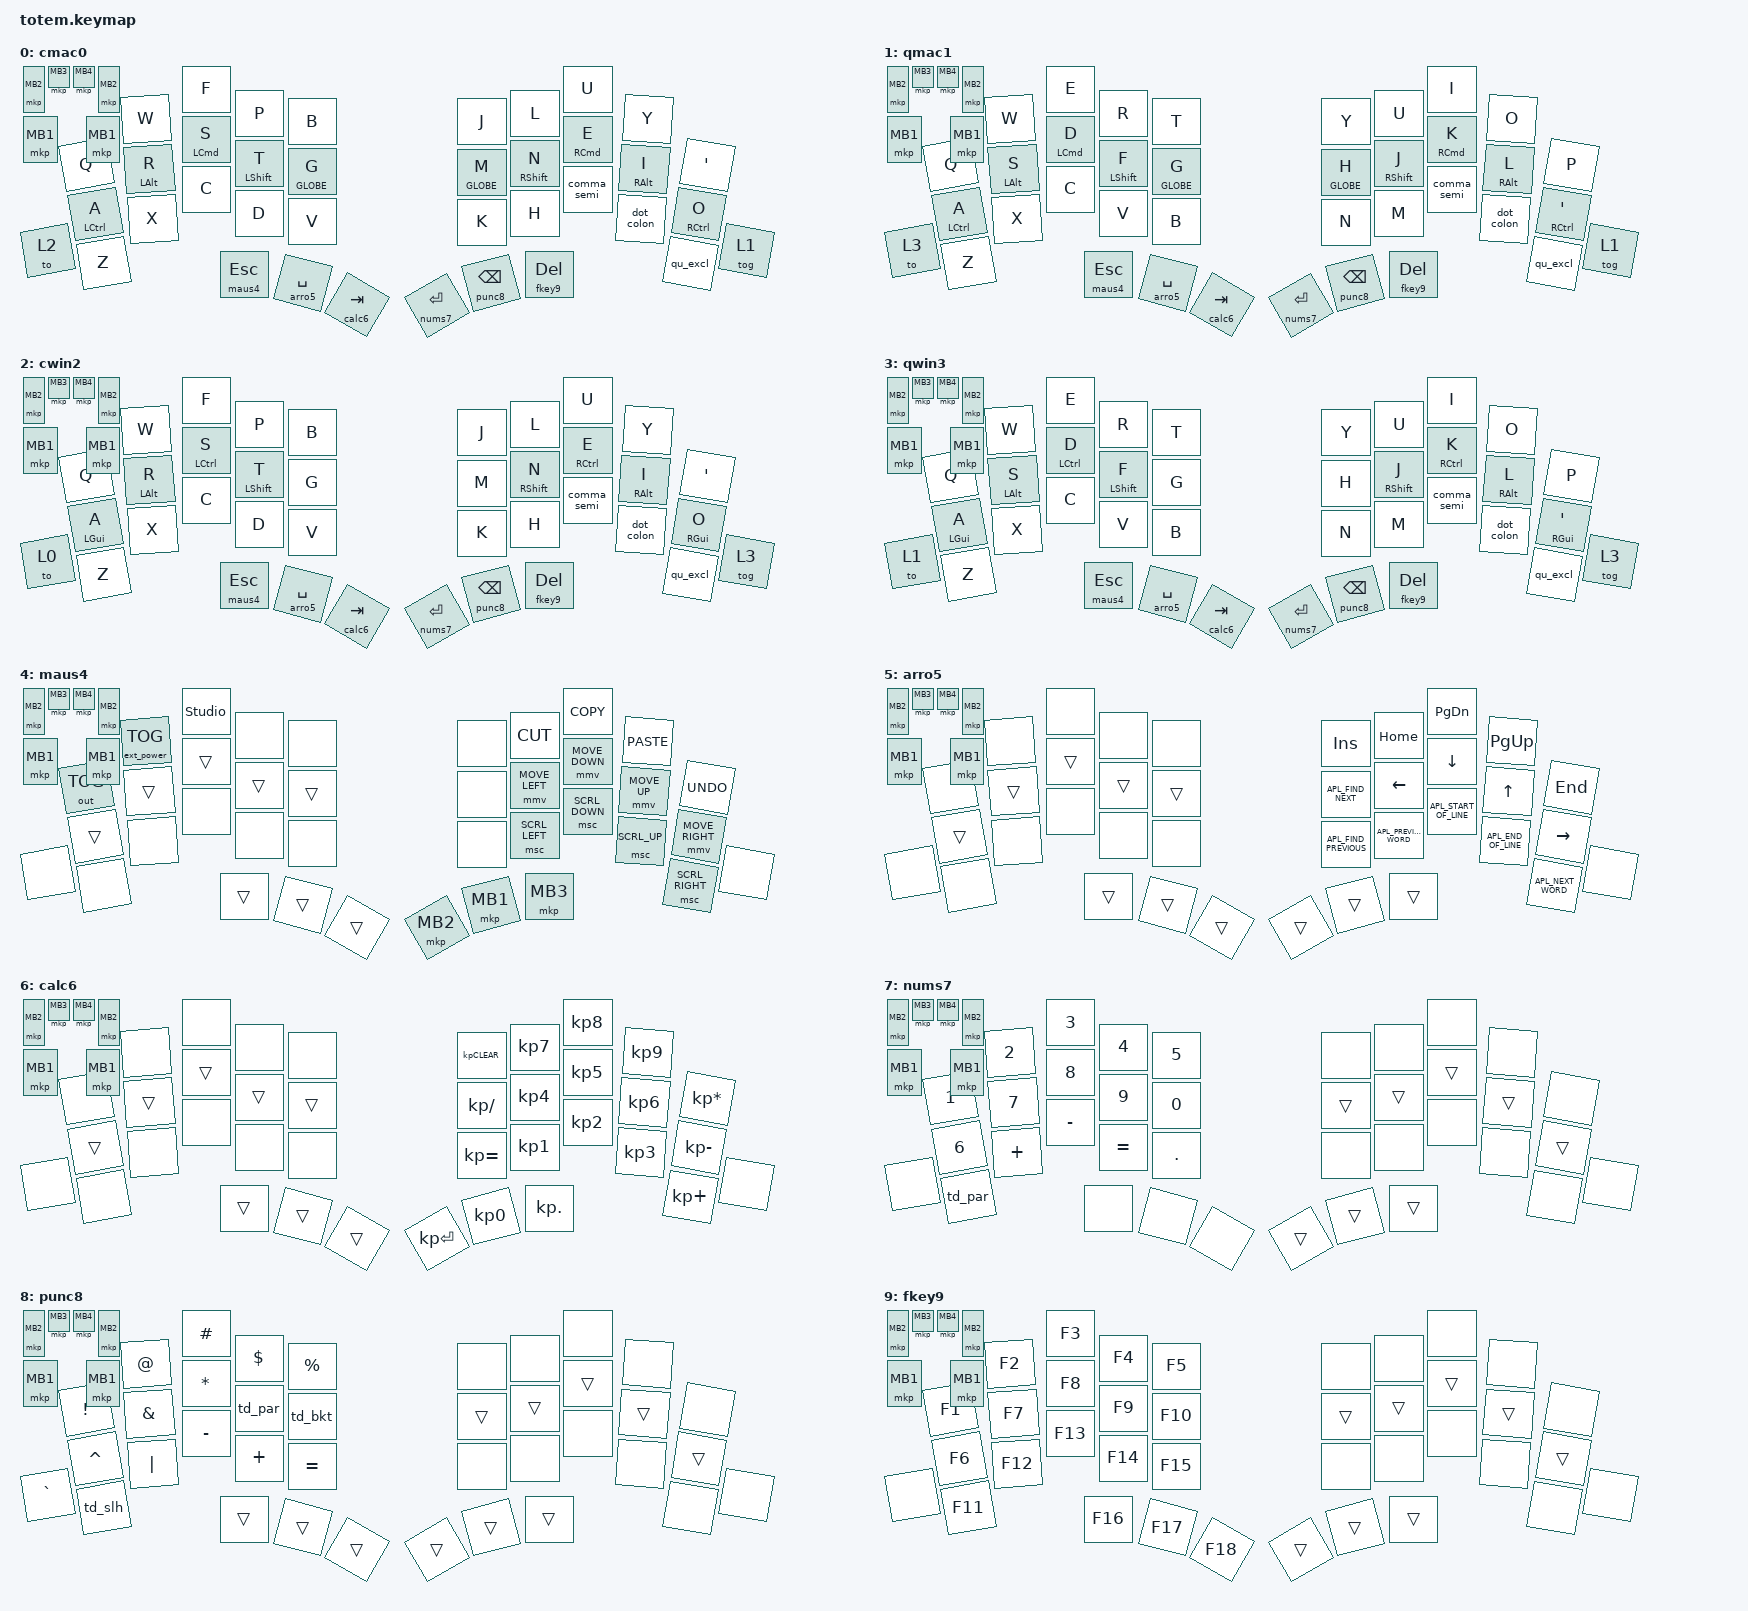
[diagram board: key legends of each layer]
//
//                                                        ▀▀▀▀▀     ▀▀▀▀▀          ▀▀█▀▀
//                                                        ▄▀▀▀▄  ▄  ▄▀▀▀▄  ▄  ▄▀▀▀▄  █  ▄▀▀▀▄
//                                                        █   █  █  █   █  █  █   █  █  █   █
//                                                         ▀▀▀   █   ▀▀▀   █   ▀▀▀   ▀   ▀▀▀
//                                                               █      ▄▄▄█▄▄▄    █   █
//                                                               ▀      █  █  █     █▄█
//                                                             ▀▀▀▀▀    █  █  █      ▀
//                                                                      ▀  ▀  ▀   APLOS & MICROSOFT, QWERTY and COLEMAK-DH, MIRYOKU-INSPIRED
//
// ▄▄▄▄▄▄▄▄▄▄▄▄▄▄▄▄▄▄▄▄▄▄▄▄▄▄▄▄▄▄▄▄▄▄▄▄▄▄▄▄▄▄▄▄▄▄▄▄▄▄▄▄▄▄▄▄▄▄▄▄▄▄▄▄▄▄▄▄▄▄▄▄▄▄▄▄▄▄▄▄▄▄▄▄▄▄▄▄▄▄▄▄▄▄▄▄▄▄▄▄▄▄▄▄▄▄▄▄▄▄▄▄▄▄▄▄▄▄▄▄▄▄▄▄▄▄▄▄▄▄▄▄▄▄▄▄▄▄▄▄▄▄▄▄▄▄▄▄▄
//
// ╭───────────────────────────────────────────────────────────────────────────────────────────────────────────────────────────────────────────────────╮
// │ I N C L U D E S                                                                                                                                   │
// ╰───────────────────────────────────────────────────────────────────────────────────────────────────────────────────────────────────────────────────╯

#include <behaviors.dtsi>
#include <dt-bindings/zmk/ext_power.h>
#include <dt-bindings/zmk/bt.h>
#include <dt-bindings/zmk/keys.h>
#include <dt-bindings/zmk/outputs.h>
#include <dt-bindings/zmk/pointing.h>

// ╭───────────────────────────────────────────────────────────────────────────────────────────────────────────────────────────────────────────────────╮
// │ D E F I N I T I O N S                                                                                                                             │
// ╰───────────────────────────────────────────────────────────────────────────────────────────────────────────────────────────────────────────────────╯

// DEFINE LAYERS
#define cmac0    0
#define qmac1    1
#define cwin2    2
#define qwin3    3
#define maus4    4
#define arro5    5
#define calc6    6
#define nums7    7
#define punc8    8
#define fkey9    9

// DEFINE MAC-SPECIFIC KEYS
#define APL_LAUNCHPAD          C_AC_DESKTOP_SHOW_ALL_APPLICATIONS
#define APL_LP                 APL_LAUNCHPAD
#define APL_MISSION_CONTROL    C_AC_DESKTOP_SHOW_ALL_WINDOWS
#define APL_MC                 APL_MISSION_CONTROL
#define APL_SPOTLIGHT          C_AC_SEARCH
#define APL_SP                 APL_SPOTLIGHT
#define APL_CUT                LG(X)
#define APL_COPY               LG(C)
#define APL_PASTE              LG(V)
#define APL_UNDO               LG(Z)
#define APL_REDO               LG(LS(Z))
#define APL_APP_WINDOWS        LG(LC(DOWN))
#define APL_APPWIN             APL_APP_WINDOWS
#define APL_NEXT_WINDOW        LG(GRAVE)
#define APL_WINN               APL_NEXT_WINDOW
#define APL_PREVIOUS_WINDOW    LG(TILDE)
#define APL_WINP               APL_PREVIOUS_WINDOW
#define APL_NEXT_DESKTOP       LG(LC(RIGHT))
#define APL_DKTN               APL_NEXT_DESKTOP
#define APL_PREVIOUS_DESKTOP   LG(LC(LEFT))
#define APL_DKTP               APL_PREVIOUS_DESKTOP
#define APL_FIND_NEXT          LG(G)
#define APL_FDNXT              APL_FIND_NEXT
#define APL_FIND_PREVIOUS      LG(LS(G))
#define APL_FDPRV              APL_FIND_PREVIOUS
#define APL_NEXT_WORD          LA(RIGHT)
#define APL_WRDN               APL_NEXT_WORD
#define APL_PREVIOUS_WORD      LA(LEFT)
#define APL_WRDP               APL_PREVIOUS_WORD
#define APL_START_OF_LINE      LG(LEFT)
#define APL_STTL               APL_START_OF_LINE
#define APL_END_OF_LINE        LG(RIGHT)
#define APL_ENDL               APL_END_OF_LINE

// ╭───────────────────────────────────────────────────────────────────────────────────────────────────────────────────────────────────────────────────╮
// │ M A C R O S                                                                                                                                       │
// ╰───────────────────────────────────────────────────────────────────────────────────────────────────────────────────────────────────────────────────╯

&mt {
    quick-tap-ms = <100>;
    global-quick-tap;
    flavor = "tap-preferred";
    tapping-term-ms = <170>;
};

&lt {
    tapping-term-ms = <240>;
    flavor = "balanced";
    quick-tap-ms = <150>;
};

// SHIFT HELPER - easier re-mapping of shifted characters //
#define DEFINE_SHIFT_KEY(_behavior_name, _normal_key, _shifted_key)         \
    _behavior_name: _behavior_name {                                        \
      compatible = "zmk,behavior-mod-morph";                                \
      #binding-cells = <0>;                                                 \
      bindings = <_normal_key>, <_shifted_key>;                             \
      mods = <(MOD_LSFT|MOD_RSFT)>;                                         \
    };

// TAPDANCE HELPER - one-line tap dance creation //
#define DEFINE_DOUBLE_TAP_KEY(_behavior_name, _normal_key, _double_tap_key) \
    _behavior_name: _behavior_name {                                        \
      compatible = "zmk,behavior-tap-dance";                                \
      #binding-cells = <0>;                                                 \
      tapping-term-ms = <200>;                                              \
      bindings = <_normal_key>, <_double_tap_key>;                          \
    };

// COMBO HELPER - one-line combo creationg //
#define COMBO(NAME, BINDINGS, KEYPOS, LAYERS)                               \
  combo_##NAME {                                                            \
    timeout-ms = <50>;                                                      \
    bindings = <BINDINGS>;                                                  \
    key-positions = <KEYPOS>;                                               \
    layers = <LAYERS>;                                                      \
  };

//  ╭────────────────────────┬────────────────────────╮
//  │      0   1   2   3   4 │  5   6   7   8   9     │
//  │     10  11  12  13  14 │ 15  16  17  18  19     │
//  │ 20  21  22  23  24  25 │ 26  27  28  29  30  31 │
//  ╰───────────╮ 32  33  34 │ 35  36  37 ╭───────────╯
//              ╰────────────┴────────────╯

/ {
    behaviors {

        DEFINE_DOUBLE_TAP_KEY(td_par, &kp LPAR, &kp RPAR)
        DEFINE_DOUBLE_TAP_KEY(td_brc, &kp LBRC, &kp RBRC)
        DEFINE_DOUBLE_TAP_KEY(td_bkt, &kp LBKT, &kp RBKT)
        DEFINE_DOUBLE_TAP_KEY(td_lt, &kp LT, &kp GT)
        DEFINE_DOUBLE_TAP_KEY(td_slh, &kp FSLH, &kp BSLH)
        DEFINE_SHIFT_KEY(comma_semi, &kp COMMA, &kp SEMI)
        DEFINE_SHIFT_KEY(dot_colon, &kp DOT, &kp COLON)
        DEFINE_SHIFT_KEY(qu_excl, &kp QMARK, &kp EXCL)
        DEFINE_SHIFT_KEY(redo, &kp K_UNDO, &kp K_REDO)

        hml: home_row_mod_left {
            compatible = "zmk,behavior-hold-tap";
            #binding-cells = <2>;
            flavor = "balanced";
            tapping-term-ms = <280>;
            quick-tap-ms = <175>;
            bindings = <&kp>, <&kp>;

            require-prior-idle-ms = <150>;
            hold-trigger-key-positions = <10 11 12 13 14>;
            hold-trigger-on-release;
        };

        hmr: home_row_mod_right {
            compatible = "zmk,behavior-hold-tap";
            #binding-cells = <2>;
            flavor = "balanced";
            tapping-term-ms = <280>;
            quick-tap-ms = <175>;
            bindings = <&kp>, <&kp>;

            require-prior-idle-ms = <150>;
            hold-trigger-key-positions = <15 16 17 18 19>;
            hold-trigger-on-release;
        };
    };

// ╭───────────────────────────────────────────────────────────────────────────────────────────────────────────────────────────────────────────────────╮
// │ C O M B O S                                                                                                                                       │
// ╰───────────────────────────────────────────────────────────────────────────────────────────────────────────────────────────────────────────────────╯
//  ╭────────────────────────┬────────────────────────╮
//  │      0   1   2   3   4 │  5   6   7   8   9     │
//  │     10  11  12  13  14 │ 15  16  17  18  19     │
//  │ 20  21  22  23  24  25 │ 26  27  28  29  30  31 │
//  ╰───────────╮ 32  33  34 │ 35  36  37 ╭───────────╯
//              ╰────────────┴────────────╯

    combos {
        compatible = "zmk,combos";

        COMBO(caps, &kp CAPS, 13 16, 0 1 2 3)
        COMBO(lbrc, &kp LBRC, 13 14, 8)
        COMBO(lt, &kp LT, 24 25, 8)
        COMBO(undo, &kp K_UNDO, 21 22, 0 1 2 3 4 5 6 7 8 9)
        COMBO(copy, &kp K_COPY, 22 23, 0 1 2 3 4 5 6 7 8 9)
        COMBO(paste, &kp K_PASTE, 23 24, 0 1 2 3 4 5 6 7 8 9)
    };

// ▝▀▀▀▀▀▀▀▀▀▀▀▀▀▀▀▀▀▀▀▀▀▀▀▀▀▀▀▀▀▀▀▀▀▀▀▀▀▀▀▀▀▀▀▀▀▀▀▀▀▀▀▀▀▀▀▀▀▀▀▀▀▀▀▀▀▀▀▀▀▀▀▀▀▀▀▀▀▀▀▀▀▀▀▀▀▀▀▀▀▀▀▀▀▀▀▀▀▀▀▀▀▀▀▀▀▀▀▀▀▀▀▀▀▀▀▀▀▀▀▀▀▀▀▀▀▀▀▀▀▀▀▀▀▀▀▀▀▀▀▀▀▀▀▀▀▀▀▘
// ╭───────────────────────────────────────────────────────────────────────────────────────────────────────────────────────────────────────────────────╮
// │ K E Y M A P S                                                                                                                                     │
// ╰───────────────────────────────────────────────────────────────────────────────────────────────────────────────────────────────────────────────────╯

    keymap {
        compatible = "zmk,keymap";

// ╭──────────┬──────────────────────────────────────────╮
// │ Layer 0  │  COLEMAK-DH with Apple modifiers         │
// ╰──────────┴──────────────────────────────────────────╯
//                 ╭─────╮ ╭─────╮ ╭─────╮ ╭─────╮ ╭─────╮       ╭─────╮ ╭─────╮ ╭─────╮ ╭─────╮       ╭─────╮ ╭─────╮ ╭─────╮ ╭─────╮ ╭─────╮ 
//                 │    Q│ │    W│ │    F│ │    P│ │    B│       │     │ │     │ │     │ │     │       │J    │ │L    │ │U    │ │Y    │ │'    │ 
//                 ╰─────╯ ╰─────╯ ╰─────╯ ╰─────╯ ╰─────╯       │     │ ╰─────╯ ╰─────╯ │     │       ╰─────╯ ╰─────╯ ╰─────╯ ╰─────╯ ╰─────╯
//                 ╭─────╮ ╭─────╮ ╭─────╮ ╭─────╮ ╭─────╮       ╰─────╯     =======     ╰─────╯       ╭─────╮ ╭─────╮ ╭─────╮ ╭─────╮ ╭─────╮
//                 │󰘴 ┋ A│ │󰘵 ┋ R│ │󰘳 ┋ S│ │󰘶 ┋ T│ │ ┋ G│       ╭─────╮   /         \   ╭─────╮       │M ┋ │ │N ┋ 󰘶│ │E ┋ 󰘳│ │I ┋ 󰘵│ │O ┋ 󰘴│
//         ╭─────╮ ╰─────╯ ╰─────╯ ╰─────╯ ╰─────╯ ╰─────╯       │     │  <           >  │     │       ╰─────╯ ╰─────╯ ╰─────╯ ╰─────╯ ╰─────╯ ╭─────╮
//         │    󰼐│ ╭─────╮ ╭─────╮ ╭─────╮ ╭─────╮ ╭─────╮       │     │   \         /   │     │       ╭─────╮ ╭─────╮ ╭─────╮ ╭─────╮ ╭─────╮ │󰼏    │
//         ╰─────╯ │    Z│ │    X│ │    C│ │    D│ │    V│       │     │     =======     │     │       │K    │ │H    │ │,    │ │.    │ │?    │ ╰─────╯
//                 ╰─────╯ ╰─────╯ ╰─────╯ ╰─────╯ ╰─────╯       ╰─────╯                 ╰─────╯       ╰─────╯ ╰─────╯ ╰─────╯ ╰─────╯ ╰─────╯
//                                       ╭─────╮                                                                 ╭─────╮
//                                       │󰼒 ┋ ⎋│ ╭─────╮                                                 ╭─────╮ │󰹿 ┋ 󰼗│
//                                       ╰─────╯ │󰼓 ┋ 󱁐│ ╭─────╮                                 ╭─────╮ │󰭜 ┋ 󰼖│ ╰─────╯
//                                               ╰─────╯ │󰼔 ┋ 󰌒│                                 │⏎ ┋ 󰼕│ ╰─────╯
//                                                       ╰─────╯                                 ╰─────╯

        cmac0 {
            display-name = "cmac0";
            bindings = <
                &kp Q           &kp W          &kp F         &kp P           &kp B             &kp J           &kp L          &kp U         &kp Y           &kp APOS
                &hml LCTRL A    &hml LALT R    &hml LCMD S   &hml LSHFT T    &hml GLOBE G      &hmr GLOBE M    &hmr RSHFT N   &hmr RCMD E   &hmr RALT I     &hmr RCTRL O
        &to 2   &kp Z           &kp X          &kp C         &kp D           &kp V             &kp K           &kp H          &comma_semi   &dot_colon      &qu_excl         &tog 1
                                               &lt maus4 ESC  &lt arro5 SPACE  &lt calc6 TAB      &lt nums7 RET    &lt punc8 BSPC  &lt fkey9 DEL
                                                                 &mkp MB2 &mkp MB3 &mkp MB4 &mkp MB2 
                                                                 &mkp MB1                   &mkp MB1
            >;
        };

// ╭──────────┬──────────────────────────────────────────╮
// │ Layer 1  │  QWERTY with Apple modifiers             │
// ╰──────────┴──────────────────────────────────────────╯
//                 ╭─────╮ ╭─────╮ ╭─────╮ ╭─────╮ ╭─────╮                ╭─────╮ ╭─────╮ ╭─────╮ ╭─────╮ ╭─────╮
//                 │    Q│ │    W│ │    E│ │    R│ │    T│                │Y    │ │U    │ │I    │ │O    │ │P    │
//                 ╰─────╯ ╰─────╯ ╰─────╯ ╰─────╯ ╰─────╯                ╰─────╯ ╰─────╯ ╰─────╯ ╰─────╯ ╰─────╯
//                 ╭─────╮ ╭─────╮ ╭─────╮ ╭─────╮ ╭─────╮                ╭─────╮ ╭─────╮ ╭─────╮ ╭─────╮ ╭─────╮
//                 │󰘴 ┋ A│ │󰘵 ┋ S│ │󰘳 ┋ D│ │󰘶 ┋ F│ │ ┋ G│                │H ┋ │ │J ┋ 󰘶│ │K ┋ 󰘳│ │L ┋ 󰘵│ │' ┋ 󰘴│
//         ╭─────╮ ╰─────╯ ╰─────╯ ╰─────╯ ╰─────╯ ╰─────╯                ╰─────╯ ╰─────╯ ╰─────╯ ╰─────╯ ╰─────╯ ╭─────╮
//         │    󰼑│ ╭─────╮ ╭─────╮ ╭─────╮ ╭─────╮ ╭─────╮                ╭─────╮ ╭─────╮ ╭─────╮ ╭─────╮ ╭─────╮ │󰼎    │
//         ╰─────╯ │    Z│ │    X│ │    C│ │    V│ │    B│                │M    │ │N    │ │,    │ │.    │ │?    │ ╰─────╯
//                 ╰─────╯ ╰─────╯ ╰─────╯ ╰─────╯ ╰─────╯                ╰─────╯ ╰─────╯ ╰─────╯ ╰─────╯ ╰─────╯
//                                       ╭─────╮                                    ╭─────╮
//                                       │󰼒 ┋ ⎋│ ╭─────╮                    ╭─────╮ │󰹿 ┋ 󰼗│
//                                       ╰─────╯ │󰼓 ┋ 󱁐│ ╭─────╮    ╭─────╮ │󰭜 ┋ 󰼖│ ╰─────╯
//                                               ╰─────╯ │󰼔 ┋ 󰌒│    │⏎ ┋ 󰼕│ ╰─────╯
//                                                       ╰─────╯    ╰─────╯

        qmac1 {
            display-name = "qmac1";
            bindings = <
                &kp Q         &kp W        &kp E         &kp R           &kp T           &kp Y         &kp U          &kp I         &kp O        &kp P
                &hml LCTRL A  &hml LALT S  &hml LCMD D   &hml LSHFT F    &hml GLOBE G    &hmr GLOBE H  &hmr RSHFT J   &hmr RCMD K   &hmr RALT L  &hmr RCTRL APOS
         &to 3  &kp Z         &kp X        &kp C         &kp V           &kp B           &kp N         &kp M          &comma_semi   &dot_colon   &qu_excl         &tog 1
                                           &lt maus4 ESC  &lt arro5 SPACE  &lt calc6 TAB    &lt nums7 RET  &lt punc8 BSPC  &lt fkey9 DEL
                                                                 &mkp MB2 &mkp MB3 &mkp MB4 &mkp MB2 
                                                                 &mkp MB1                   &mkp MB1
            >;
        };

// ╭──────────┬──────────────────────────────────────────╮
// │ Layer 2  │  COLEMAK-DH with Microsoft modifiers     │
// ╰──────────┴──────────────────────────────────────────╯
//                 ╭─────╮ ╭─────╮ ╭─────╮ ╭─────╮ ╭─────╮                ╭─────╮ ╭─────╮ ╭─────╮ ╭─────╮ ╭─────╮
//                 │    Q│ │    W│ │    F│ │    P│ │    B│                │J    │ │L    │ │U    │ │Y    │ │'    │
//                 ╰─────╯ ╰─────╯ ╰─────╯ ╰─────╯ ╰─────╯                ╰─────╯ ╰─────╯ ╰─────╯ ╰─────╯ ╰─────╯
//                 ╭─────╮ ╭─────╮ ╭─────╮ ╭─────╮ ╭─────╮                ╭─────╮ ╭─────╮ ╭─────╮ ╭─────╮ ╭─────╮
//                 │󰖳 ┋ A│ │󰘵 ┋ R│ │󰘴 ┋ S│ │󰘶 ┋ T│ │    G│                │M    │ │N ┋ 󰘶│ │E ┋ 󰘴│ │I ┋ 󰘵│ │O ┋ 󰖳│
//         ╭─────╮ ╰─────╯ ╰─────╯ ╰─────╯ ╰─────╯ ╰─────╯                ╰─────╯ ╰─────╯ ╰─────╯ ╰─────╯ ╰─────╯ ╭─────╮
//         │    󰼎│ ╭─────╮ ╭─────╮ ╭─────╮ ╭─────╮ ╭─────╮                ╭─────╮ ╭─────╮ ╭─────╮ ╭─────╮ ╭─────╮ │󰼏    │
//         ╰─────╯ │    Z│ │    X│ │    C│ │    D│ │    V│                │K    │ │H    │ │,    │ │.    │ │?    │ ╰─────╯
//                 ╰─────╯ ╰─────╯ ╰─────╯ ╰─────╯ ╰─────╯                ╰─────╯ ╰─────╯ ╰─────╯ ╰─────╯ ╰─────╯
//                                       ╭─────╮                                    ╭─────╮
//                                       │󰼒 ┋ ⎋│ ╭─────╮                    ╭─────╮ │󰹿 ┋ 󰼗│
//                                       ╰─────╯ │󰼓 ┋ 󱁐│ ╭─────╮    ╭─────╮ │󰭜 ┋ 󰼖│ ╰─────╯
//                                               ╰─────╯ │󰼔 ┋ 󰌒│    │⏎ ┋ 󰼕│ ╰─────╯
//                                                       ╰─────╯    ╰─────╯

        cwin2 {
            display-name = "cwin2";
            bindings = <
       &kp Q        &kp W        &kp F         &kp P           &kp B           &kp J         &kp L          &kp U         &kp Y        &kp APOS
       &hml LGUI A  &hml LALT R  &hml LCTRL S  &hml LSHFT T    &kp G           &kp M         &hmr RSHFT N   &hmr RCTRL E  &hmr RALT I  &hmr RGUI O
&to 0  &kp Z        &kp X        &kp C         &kp D           &kp V           &kp K         &kp H          &comma_semi   &dot_colon   &qu_excl      &tog 3
                                 &lt maus4 ESC  &lt arro5 SPACE  &lt calc6 TAB    &lt nums7 RET  &lt punc8 BSPC  &lt fkey9 DEL
                                                                 &mkp MB2 &mkp MB3 &mkp MB4 &mkp MB2 
                                                                 &mkp MB1                   &mkp MB1
            >;
        };

// ╭──────────┬──────────────────────────────────────────╮
// │ Layer 3  │  QWERTY with Microsoft modifiers         │
// ╰──────────┴──────────────────────────────────────────╯
//                 ╭─────╮ ╭─────╮ ╭─────╮ ╭─────╮ ╭─────╮                ╭─────╮ ╭─────╮ ╭─────╮ ╭─────╮ ╭─────╮
//                 │    Q│ │    W│ │    E│ │    R│ │    T│                │Y    │ │U    │ │I    │ │O    │ │P    │
//                 ╰─────╯ ╰─────╯ ╰─────╯ ╰─────╯ ╰─────╯                ╰─────╯ ╰─────╯ ╰─────╯ ╰─────╯ ╰─────╯
//                 ╭─────╮ ╭─────╮ ╭─────╮ ╭─────╮ ╭─────╮                ╭─────╮ ╭─────╮ ╭─────╮ ╭─────╮ ╭─────╮
//                 │󰖳 ┋ A│ │󰘵 ┋ S│ │󰘴 ┋ D│ │󰘶 ┋ F│ │    G│                │H    │ │J ┋ 󰘶│ │K ┋ 󰘴│ │L ┋ 󰘵│ │' ┋ 󰖳│
//         ╭─────╮ ╰─────╯ ╰─────╯ ╰─────╯ ╰─────╯ ╰─────╯                ╰─────╯ ╰─────╯ ╰─────╯ ╰─────╯ ╰─────╯ ╭─────╮
//         │    󰼑│ ╭─────╮ ╭─────╮ ╭─────╮ ╭─────╮ ╭─────╮                ╭─────╮ ╭─────╮ ╭─────╮ ╭─────╮ ╭─────╮ │󰼎    │
//         ╰─────╯ │    Z│ │    X│ │    C│ │    V│ │    B│                │M    │ │N    │ │,    │ │.    │ │?    │ ╰─────╯
//                 ╰─────╯ ╰─────╯ ╰─────╯ ╰─────╯ ╰─────╯                ╰─────╯ ╰─────╯ ╰─────╯ ╰─────╯ ╰─────╯
//                                       ╭─────╮                                    ╭─────╮
//                                       │󰼒 ┋ ⎋│ ╭─────╮                    ╭─────╮ │󰹿 ┋ 󰼗│
//                                       ╰─────╯ │󰼓 ┋ 󱁐│ ╭─────╮    ╭─────╮ │󰭜 ┋ 󰼖│ ╰─────╯
//                                               ╰─────╯ │󰼔 ┋ 󰌒│    │⏎ ┋ 󰼕│ ╰─────╯
//                                                       ╰─────╯    ╰─────╯

        qwin3 {
            display-name = "qwin3";
            bindings = <
       &kp Q        &kp W        &kp E         &kp R           &kp T           &kp Y         &kp U          &kp I         &kp O        &kp P
       &hml LGUI A  &hml LALT S  &hml LCTRL D  &hml LSHFT F    &kp G           &kp H         &hmr RSHFT J   &hmr RCTRL K  &hmr RALT L  &hmr RGUI APOS
&to 1  &kp Z        &kp X        &kp C         &kp V           &kp B           &kp N         &kp M          &comma_semi   &dot_colon   &qu_excl        &tog 3
                                 &lt maus4 ESC  &lt arro5 SPACE  &lt calc6 TAB    &lt nums7 RET  &lt punc8 BSPC  &lt fkey9 DEL
                                                                 &mkp MB2 &mkp MB3 &mkp MB4 &mkp MB2 
                                                                 &mkp MB1                   &mkp MB1
            >;
        };

// ╭──────────┬──────────────────────────────────────────╮
// │ Layer 4  │  ZMK Control and Mouse Emulation         │
// ╰──────────┴──────────────────────────────────────────╯
//                 ╭─────╮ ╭─────╮ ╭─────╮ ╭─────╮ ╭─────╮                ╭─────╮ ╭─────╮ ╭─────╮ ╭─────╮ ╭─────╮
//                 │ BLE │ │ PWR │ │ STU │ │     │ │     │                │     │ │󰆐    │ │󰆏    │ │󰆒    │ │󰕌    │
//                 ╰─────╯ ╰─────╯ ╰─────╯ ╰─────╯ ╰─────╯                ╰─────╯ ╰─────╯ ╰─────╯ ╰─────╯ ╰─────╯
//                 ╭─────╮ ╭─────╮ ╭─────╮ ╭─────╮ ╭─────╮                ╭─────╮ ╭─────╮ ╭─────╮ ╭─────╮ ╭─────╮
//                 │    │ │    │ │    │ │    │ │    │                │     │ │← 󰍽  │ │↓ 󰍽  │ │󰍽 ↑  │ │󰍽 →  │
//         ╭─────╮ ╰─────╯ ╰─────╯ ╰─────╯ ╰─────╯ ╰─────╯                ╰─────╯ ╰─────╯ ╰─────╯ ╰─────╯ ╰─────╯ ╭─────╮
//         │     │ ╭─────╮ ╭─────╮ ╭─────╮ ╭─────╮ ╭─────╮                ╭─────╮ ╭─────╮ ╭─────╮ ╭─────╮ ╭─────╮ │     │
//         ╰─────╯ │     │ │     │ │     │ │     │ │     │                │     │ │← 󱕒  │ │↓ 󱕒  │ │󱕒 ↑  │ │󱕒 →  │ ╰─────╯
//                 ╰─────╯ ╰─────╯ ╰─────╯ ╰─────╯ ╰─────╯                ╰─────╯ ╰─────╯ ╰─────╯ ╰─────╯ ╰─────╯
//                                       ╭─────╮                                    ╭─────╮
//                                       │    󰚶│ ╭─────╮                    ╭─────╮ │󰍽 3  │
//                                       ╰─────╯ │    │ ╭─────╮    ╭─────╮ │󰍽 1  │ ╰─────╯
//                                               ╰─────╯ │    │    │󰍽 2  │ ╰─────╯
//                                                       ╰─────╯    ╰─────╯

        maus4 {
            label = "maus4";
            bindings = <
       &out OUT_TOG  &ext_power EP_TOG  &studio_unlock  &none   &none     &none     &kp K_CUT       &kp K_COPY      &kp K_PASTE   &kp K_UNDO
       &trans        &trans             &trans          &trans  &trans    &none     &mmv MOVE_LEFT  &mmv MOVE_DOWN  &mmv MOVE_UP  &mmv MOVE_RIGHT
&none  &none         &none              &none           &none   &none     &none     &msc SCRL_LEFT  &msc SCRL_DOWN  &msc SCRL_UP  &msc SCRL_RIGHT  &none
                                        &trans          &trans  &trans    &mkp MB2  &mkp MB1        &mkp MB3
                                                                 &mkp MB2 &mkp MB3 &mkp MB4 &mkp MB2 
                                                                 &mkp MB1                   &mkp MB1
            >;
        };

// ╭──────────┬──────────────────────────────────────────╮
// │ Layer 5  │  Navigation and Arrow Keys               │
// ╰──────────┴──────────────────────────────────────────╯
//                 ╭─────╮ ╭─────╮ ╭─────╮ ╭─────╮ ╭─────╮                ╭─────╮ ╭─────╮ ╭─────╮ ╭─────╮ ╭─────╮
//                 │     │ │     │ │     │ │     │ │     │                │    │ │↖    │ │⇟    │ │⇞    │ │↘    │
//                 ╰─────╯ ╰─────╯ ╰─────╯ ╰─────╯ ╰─────╯                ╰─────╯ ╰─────╯ ╰─────╯ ╰─────╯ ╰─────╯
//                 ╭─────╮ ╭─────╮ ╭─────╮ ╭─────╮ ╭─────╮                ╭─────╮ ╭─────╮ ╭─────╮ ╭─────╮ ╭─────╮
//                 │    │ │    │ │    │ │    │ │    │                │ →  │ │←    │ │↓    │ │↑    │ │→    │
//         ╭─────╮ ╰─────╯ ╰─────╯ ╰─────╯ ╰─────╯ ╰─────╯                ╰─────╯ ╰─────╯ ╰─────╯ ╰─────╯ ╰─────╯ ╭─────╮
//         │     │ ╭─────╮ ╭─────╮ ╭─────╮ ╭─────╮ ╭─────╮                ╭─────╮ ╭─────╮ ╭─────╮ ╭─────╮ ╭─────╮ │     │
//         ╰─────╯ │     │ │     │ │     │ │     │ │     │                │←   │ │󰾺    │ │󰊆    │ │󰊅    │ │󰾸    │ ╰─────╯
//                 ╰─────╯ ╰─────╯ ╰─────╯ ╰─────╯ ╰─────╯                ╰─────╯ ╰─────╯ ╰─────╯ ╰─────╯ ╰─────╯
//                                       ╭─────╮                                    ╭─────╮
//                                       │    │ ╭─────╮                    ╭─────╮ │    │
//                                       ╰─────╯ │    󰚶│ ╭─────╮    ╭─────╮ │    │ ╰─────╯
//                                               ╰─────╯ │    │    │    │ ╰─────╯
//                                                       ╰─────╯    ╰─────╯

        arro5 {
            label = "arro5";
            bindings = <
       &none       &none      &none       &none        &none         &kp INS        &kp HOME      &kp PG_DN     &kp PG_UP     &kp END
       &trans      &trans     &trans      &trans       &trans        &kp APL_FDNXT  &kp LEFT      &kp DOWN      &kp UP        &kp RIGHT
&none  &none       &none      &none       &none        &none         &kp APL_FDPRV  &kp APL_WRDP  &kp APL_STTL  &kp APL_ENDL  &kp APL_WRDN  &none
                              &trans      &trans       &trans        &trans         &trans        &trans
                                                                 &mkp MB2 &mkp MB3 &mkp MB4 &mkp MB2 
                                                                 &mkp MB1                   &mkp MB1
            >;
        };

// ╭──────────┬──────────────────────────────────────────╮
// │ Layer 6  │  Ten-Key Number Pad                      │
// ╰──────────┴──────────────────────────────────────────╯
//                 ╭─────╮ ╭─────╮ ╭─────╮ ╭─────╮ ╭─────╮                ╭─────╮ ╭─────╮ ╭─────╮ ╭─────╮ ╭─────╮
//                 │     │ │     │ │     │ │     │ │     │                │CLR  │ │7    │ │8    │ │9    │ │*    │
//                 ╰─────╯ ╰─────╯ ╰─────╯ ╰─────╯ ╰─────╯                ╰─────╯ ╰─────╯ ╰─────╯ ╰─────╯ ╰─────╯
//                 ╭─────╮ ╭─────╮ ╭─────╮ ╭─────╮ ╭─────╮                ╭─────╮ ╭─────╮ ╭─────╮ ╭─────╮ ╭─────╮
//                 │    │ │    │ │    │ │    │ │    │                │/    │ │4    │ │5    │ │6    │ │-    │
//         ╭─────╮ ╰─────╯ ╰─────╯ ╰─────╯ ╰─────╯ ╰─────╯                ╰─────╯ ╰─────╯ ╰─────╯ ╰─────╯ ╰─────╯ ╭─────╮
//         │     │ ╭─────╮ ╭─────╮ ╭─────╮ ╭─────╮ ╭─────╮                ╭─────╮ ╭─────╮ ╭─────╮ ╭─────╮ ╭─────╮ │     │
//         ╰─────╯ │     │ │     │ │     │ │     │ │     │                │=    │ │1    │ │2    │ │3    │ │+    │ ╰─────╯
//                 ╰─────╯ ╰─────╯ ╰─────╯ ╰─────╯ ╰─────╯                ╰─────╯ ╰─────╯ ╰─────╯ ╰─────╯ ╰─────╯
//                                       ╭─────╮                                    ╭─────╮
//                                       │    │ ╭─────╮                    ╭─────╮ │.    │
//                                       ╰─────╯ │    │ ╭─────╮    ╭─────╮ │0    │ ╰─────╯
//                                               ╰─────╯ │    󰚶│    │ENT  │ ╰─────╯
//                                                       ╰─────╯    ╰─────╯

        calc6 {
            label = "calc6";
            bindings = <
       &none   &none   &none   &none   &none     &kp KP_CLEAR   &kp KP_N7  &kp KP_N8   &kp KP_N9  &kp KP_MULTIPLY
       &trans  &trans  &trans  &trans  &trans    &kp KP_DIVIDE  &kp KP_N4  &kp KP_N5   &kp KP_N6  &kp KP_MINUS
&none  &none   &none   &none   &none   &none     &kp KP_EQUAL   &kp KP_N1  &kp KP_N2   &kp KP_N3  &kp KP_PLUS      &none
                       &trans  &trans  &trans    &kp KP_ENTER   &kp KP_N0  &kp KP_DOT
                                                                 &mkp MB2 &mkp MB3 &mkp MB4 &mkp MB2 
                                                                 &mkp MB1                   &mkp MB1
            >;
        };

// ╭──────────┬──────────────────────────────────────────╮
// │ Layer 7  │  Top-Row Numbers (and cheater symbols)   │
// ╰──────────┴──────────────────────────────────────────╯
//                 ╭─────╮ ╭─────╮ ╭─────╮ ╭─────╮ ╭─────╮                ╭─────╮ ╭─────╮ ╭─────╮ ╭─────╮ ╭─────╮
//                 │    1│ │    2│ │    3│ │    4│ │    5│                │     │ │     │ │     │ │     │ │     │
//                 ╰─────╯ ╰─────╯ ╰─────╯ ╰─────╯ ╰─────╯                ╰─────╯ ╰─────╯ ╰─────╯ ╰─────╯ ╰─────╯
//                 ╭─────╮ ╭─────╮ ╭─────╮ ╭─────╮ ╭─────╮                ╭─────╮ ╭─────╮ ╭─────╮ ╭─────╮ ╭─────╮
//                 │    6│ │    7│ │    8│ │    9│ │    0│                │    │ │    │ │    │ │    │ │    │
//         ╭─────╮ ╰─────╯ ╰─────╯ ╰─────╯ ╰─────╯ ╰─────╯                ╰─────╯ ╰─────╯ ╰─────╯ ╰─────╯ ╰─────╯ ╭─────╮
//         │     │ ╭─────╮ ╭─────╮ ╭─────╮ ╭─────╮ ╭─────╮                ╭─────╮ ╭─────╮ ╭─────╮ ╭─────╮ ╭─────╮ │     │
//         ╰─────╯ │   ()│ │    +│ │    -│ │    =│ │    .│                │     │ │     │ │     │ │     │ │     │ ╰─────╯
//                 ╰─────╯ ╰─────╯ ╰─────╯ ╰─────╯ ╰─────╯                ╰─────╯ ╰─────╯ ╰─────╯ ╰─────╯ ╰─────╯
//                                       ╭─────╮                                    ╭─────╮
//                                       │     │ ╭─────╮                    ╭─────╮ │    │
//                                       ╰─────╯ │     │ ╭─────╮    ╭─────╮ │    │ ╰─────╯
//                                               ╰─────╯ │     │    │󰚶    │ ╰─────╯
//                                                       ╰─────╯    ╰─────╯

        nums7 {
            label = "nums7";
            bindings = <
       &kp N1        &kp N2    &kp N3     &kp N4     &kp N5     &none   &none   &none   &none   &none
       &kp N6        &kp N7    &kp N8     &kp N9     &kp N0     &trans  &trans  &trans  &trans  &trans
&none  &td_par    &kp PLUS  &kp MINUS  &kp EQUAL  &kp DOT    &none   &none   &none   &none   &none   &none
                               &none      &none      &none      &trans  &trans  &trans
                                                                 &mkp MB2 &mkp MB3 &mkp MB4 &mkp MB2 
                                                                 &mkp MB1                   &mkp MB1
            >;
        };

// ╭──────────┬──────────────────────────────────────────╮
// │ Layer 8  │  Custom Symbols                          │
// ╰──────────┴──────────────────────────────────────────╯
//                 ╭─────╮ ╭─────╮ ╭─────╮ ╭─────╮ ╭─────╮                ╭─────╮ ╭─────╮ ╭─────╮ ╭─────╮ ╭─────╮
//                 │    !│ │    @│ │    #│ │    $│ │    %│                │     │ │     │ │     │ │     │ │     │
//                 ╰─────╯ ╰─────╯ ╰─────╯ ╰─────╯ ╰─────╯                ╰─────╯ ╰─────╯ ╰─────╯ ╰─────╯ ╰─────╯
//                 ╭─────╮ ╭─────╮ ╭─────╮ ╭─────╮ ╭─────╮                ╭─────╮ ╭─────╮ ╭─────╮ ╭─────╮ ╭─────╮
//                 │    ^│ │    &│ │    *│ │  () { }   []│                │    │ │    │ │    │ │    │ │    │
//         ╭─────╮ ╰─────╯ ╰─────╯ ╰─────╯ ╰─────╯ ╰─────╯                ╰─────╯ ╰─────╯ ╰─────╯ ╰─────╯ ╰─────╯ ╭─────╮
//         │    `│ ╭─────╮ ╭─────╮ ╭─────╮ ╭─────╮ ╭─────╮                ╭─────╮ ╭─────╮ ╭─────╮ ╭─────╮ ╭─────╮ │     │
//         ╰─────╯ │   \/│ │    |│ │    -│ │  +  < >    =│                │     │ │     │ │     │ │     │ │     │ ╰─────╯
//                 ╰─────╯ ╰─────╯ ╰─────╯ ╰─────╯ ╰─────╯                ╰─────╯ ╰─────╯ ╰─────╯ ╰─────╯ ╰─────╯
//                                       ╭─────╮                                    ╭─────╮
//                                       │    │ ╭─────╮                    ╭─────╮ │    │
//                                       ╰─────╯ │    │ ╭─────╮    ╭─────╮ │󰚶    │ ╰─────╯
//                                               ╰─────╯ │    │    │    │ ╰─────╯
//                                                       ╰─────╯    ╰─────╯

        punc8 {
            label = "punc8";
            bindings = <
           &kp EXCL    &kp AT    &kp POUND  &kp DLLR    &kp PRCNT    &none   &none   &none   &none   &none
           &kp CARET   &kp AMPS  &kp STAR   &td_par  &td_bkt   &trans  &trans  &trans  &trans  &trans
&kp GRAVE  &td_slh  &kp PIPE  &kp MINUS  &kp PLUS    &kp EQUAL    &none   &none   &none   &none   &none   &none
                                 &trans     &trans      &trans       &trans  &trans  &trans
                                                                 &mkp MB2 &mkp MB3 &mkp MB4 &mkp MB2 
                                                                 &mkp MB1                   &mkp MB1
            >;
        };

// ╭──────────┬──────────────────────────────────────────╮
// │ Layer 9  │  Function Keys (Mac Media Layer)         │
// ╰──────────┴──────────────────────────────────────────╯
//                 ╭─────╮ ╭─────╮ ╭─────╮ ╭─────╮ ╭─────╮                ╭─────╮ ╭─────╮ ╭─────╮ ╭─────╮ ╭─────╮
//                 │   F1│ │   F2│ │   F3│ │   F4│ │   F5│                │     │ │     │ │     │ │     │ │     │
//                 ╰─────╯ ╰─────╯ ╰─────╯ ╰─────╯ ╰─────╯                ╰─────╯ ╰─────╯ ╰─────╯ ╰─────╯ ╰─────╯
//                 ╭─────╮ ╭─────╮ ╭─────╮ ╭─────╮ ╭─────╮                ╭─────╮ ╭─────╮ ╭─────╮ ╭─────╮ ╭─────╮
//                 │   F6│ │   F7│ │   F8│ │   F9│ │  F10│                │    │ │    │ │    │ │    │ │    │
//         ╭─────╮ ╰─────╯ ╰─────╯ ╰─────╯ ╰─────╯ ╰─────╯                ╰─────╯ ╰─────╯ ╰─────╯ ╰─────╯ ╰─────╯ ╭─────╮
//         │     │ ╭─────╮ ╭─────╮ ╭─────╮ ╭─────╮ ╭─────╮                ╭─────╮ ╭─────╮ ╭─────╮ ╭─────╮ ╭─────╮ │     │
//         ╰─────╯ │  F11│ │  F12│ │  F13│ │  F14│ │  F15│                │     │ │     │ │     │ │     │ │     │ ╰─────╯
//                 ╰─────╯ ╰─────╯ ╰─────╯ ╰─────╯ ╰─────╯                ╰─────╯ ╰─────╯ ╰─────╯ ╰─────╯ ╰─────╯
//                                       ╭─────╮                                    ╭─────╮
//                                       │  F16│ ╭─────╮                    ╭─────╮ │󰚶    │
//                                       ╰─────╯ │  F17│ ╭─────╮    ╭─────╮ │    │ ╰─────╯
//                                               ╰─────╯ │  F18│    │    │ ╰─────╯
//                                                       ╰─────╯    ╰─────╯

        fkey9 {
            label = "fkey9";
            bindings = <
       &kp F1   &kp F2   &kp F3   &kp F4   &kp F5     &none   &none   &none   &none   &none
       &kp F6   &kp F7   &kp F8   &kp F9   &kp F10    &trans  &trans  &trans  &trans  &trans
&none  &kp F11  &kp F12  &kp F13  &kp F14  &kp F15    &none   &none   &none   &none   &none   &none
                         &kp F16  &kp F17  &kp F18    &trans  &trans  &trans
                                                                 &mkp MB2 &mkp MB3 &mkp MB4 &mkp MB2 
                                                                 &mkp MB1                   &mkp MB1
            >;
        };
    };
};

// ▝▀▀▀▀▀▀▀▀▀▀▀▀▀▀▀▀▀▀▀▀▀▀▀▀▀▀▀▀▀▀▀▀▀▀▀▀▀▀▀▀▀▀▀▀▀▀▀▀▀▀▀▀▀▀▀▀▀▀▀▀▀▀▀▀▀▀▀▀▀▀▀▀▀▀▀▀▀▀▀▀▀▀▀▀▀▀▀▀▀▀▀▀▀▀▀▀▀▀▀▀▀▀▀▀▀▀▀▀▀▀▀▀▀▀▀▀▀▀▀▀▀▀▀▀▀▀▀▀▀▀▀▀▀▀▀▀▀▀▀▀▀▀▀▀▀▀▀▘
//
//                                                                 ██████
//                                                                   ██  ▄▄▄▄
//                                                                   ██ ██▀▀██
//                                                                   ▀▀ ██▄▄██
//                                                               ██████  ▀▀▀▀
//                                                                 ██ ▄▄▄▄▄▄
//                                                                 ██ ██▀▀▀▀
//                                                                 ██ ██████
//                                                                    ██▄▄▄▄
//                                                                    ▀▀▀▀▀▀
//                                                                  ████████
//                                                                  ██ ██ ██
//                                                                  ██ ██ ██
//                                                                  ▀▀ ▀▀ ▀▀
//                                                                  ████████
//
// ▝▀▀▀▀▀▀▀▀▀▀▀▀▀▀▀▀▀▀▀▀▀▀▀▀▀▀▀▀▀▀▀▀▀▀▀▀▀▀▀▀▀▀▀▀▀▀▀▀▀▀▀▀▀▀▀▀▀▀▀▀▀▀▀▀▀▀▀▀▀▀▀▀▀▀▀▀▀▀▀▀▀▀▀▀▀▀▀▀▀▀▀▀▀▀▀▀▀▀▀▀▀▀▀▀▀▀▀▀▀▀▀▀▀▀▀▀▀▀▀▀▀▀▀▀▀▀▀▀▀▀▀▀▀▀▀▀▀▀▀▀▀▀▀▀▀▀▀▘
